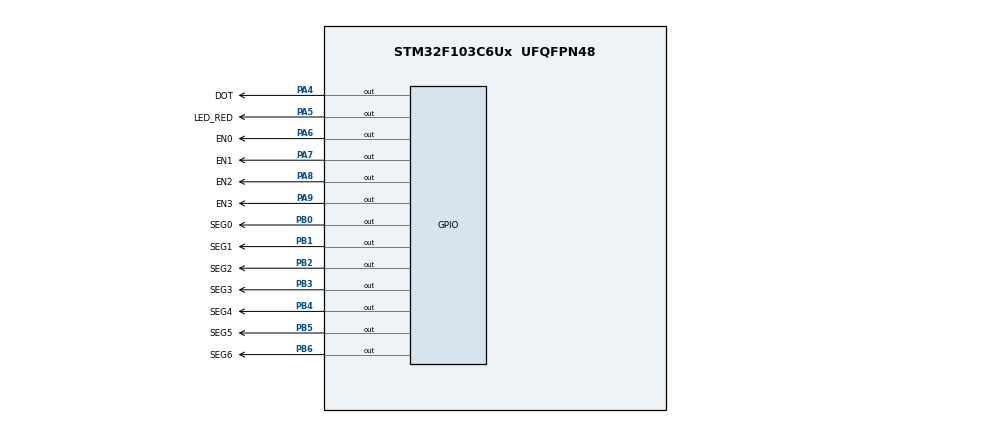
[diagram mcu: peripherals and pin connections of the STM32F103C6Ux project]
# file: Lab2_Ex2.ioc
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Mcu.Family=STM32F1
Mcu.Name=STM32F103C6Ux
Mcu.Package=UFQFPN48
NVIC.PriorityGroup=NVIC_PRIORITYGROUP_4
NVIC.TIM2_IRQn=true\:0\:0\:false\:false\:true\:false\:true
PA13.Mode=Serial_Wire
PA13.Signal=SYS_JTMS-SWDIO
PA14.Mode=Serial_Wire
PA14.Signal=SYS_JTCK-SWCLK
PA4.GPIO_Label=DOT
PA4.PinState=GPIO_PIN_SET
PA4.Signal=GPIO_Output
PA5.GPIO_Label=LED_RED
PA5.PinState=GPIO_PIN_SET
PA5.Signal=GPIO_Output
PA6.GPIO_Label=EN0
PA6.PinState=GPIO_PIN_SET
PA6.Signal=GPIO_Output
PA7.GPIO_Label=EN1
PA7.PinState=GPIO_PIN_SET
PA7.Signal=GPIO_Output
PA8.GPIO_Label=EN2
PA8.PinState=GPIO_PIN_SET
PA8.Signal=GPIO_Output
PA9.GPIO_Label=EN3
PA9.PinState=GPIO_PIN_SET
PA9.Signal=GPIO_Output
PB0.GPIO_Label=SEG0
PB0.PinState=GPIO_PIN_SET
PB0.Signal=GPIO_Output
PB1.GPIO_Label=SEG1
PB1.PinState=GPIO_PIN_SET
PB1.Signal=GPIO_Output
PB2.GPIO_Label=SEG2
PB2.PinState=GPIO_PIN_SET
PB2.Signal=GPIO_Output
PB3.GPIO_Label=SEG3
PB3.PinState=GPIO_PIN_SET
PB3.Signal=GPIO_Output
PB4.GPIO_Label=SEG4
PB4.PinState=GPIO_PIN_SET
PB4.Signal=GPIO_Output
PB5.GPIO_Label=SEG5
PB5.PinState=GPIO_PIN_SET
PB5.Signal=GPIO_Output
PB6.GPIO_Label=SEG6
PB6.PinState=GPIO_PIN_SET
PB6.Signal=GPIO_Output
ProjectManager.HeapSize=0x200
ProjectManager.StackSize=0x400
ProjectManager.TargetToolchain=STM32CubeIDE
RCC.APB1Freq_Value=8000000
RCC.APB2Freq_Value=8000000
TIM2.Period=9
TIM2.Prescaler=7999
VP_TIM2_VS_ClockSourceINT.Mode=Internal
board=custom

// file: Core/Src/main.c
/* USER CODE BEGIN Header */
/**
  ******************************************************************************
  * @file           : main.c
  * @brief          : Main program body
  *                   Lab 2 - Exercise 2 - 4 LED 7 doan hien 12:30, 2 LED DOT nhap nhay
  ******************************************************************************
  * @attention
  *
  * <h2><center>&copy; Copyright (c) 2026 STMicroelectronics.
  * All rights reserved.</center></h2>
  *
  * This software component is licensed by ST under BSD 3-Clause license,
  * the "License"; You may not use this file except in compliance with the
  * License. You may obtain a copy of the License at:
  *                        opensource.org/licenses/BSD-3-Clause
  *
  ******************************************************************************
  */
/* USER CODE END Header */
#include "main.h"

/* USER CODE BEGIN PD */
/* LED 7 doan common anode -> doan sang khi xuat muc 0 */
#define SEG_ON            GPIO_PIN_RESET
#define SEG_OFF           GPIO_PIN_SET

/* PNP: xuat muc 0 -> transistor dan -> LED 7 doan duoc cap nguon */
#define EN_ON             GPIO_PIN_RESET
#define EN_OFF            GPIO_PIN_SET

/* Moi LED 7 doan sang 500 ms (yeu cau: a half of second) */
#define SWITCH_TIME_MS    500
#define TICKS_SWITCH      (SWITCH_TIME_MS / 10)      /* = 50 nhip  */

/* DOT nhap nhay moi 1 giay -> doi trang thai sau 1000 ms */
#define DOT_TIME_MS       1000
#define TICKS_DOT         (DOT_TIME_MS / 10)          /* = 100 nhip */
/* USER CODE END PD */

TIM_HandleTypeDef htim2;

void SystemClock_Config(void);
static void MX_GPIO_Init(void);
static void MX_TIM2_Init(void);

/* USER CODE BEGIN 0 */
int index_led     = 0;
int timer_counter = 0;
int dot_counter   = 0;
int dot_state     = 0;

/* Bang ma 7 doan, bit0..bit6 = doan a..g (kieu gfedcba).
   LED common anode: doan SANG khi chan tin hieu o muc 0. */
const uint8_t SEG_CODE[10] = {
  0x3F, 0x06, 0x5B, 0x4F, 0x66, 0x6D, 0x7D, 0x07, 0x7F, 0x6F
};

void display7SEG(int num)
{
  if (num < 0 || num > 9) return;                 /* chong tran bang    */
  for (int i = 0; i < 7; i++) {                   /* SEG0..SEG6 = PB0..PB6 */
    HAL_GPIO_WritePin(SEG0_GPIO_Port, (uint16_t)(SEG0_Pin << i),
                      ((SEG_CODE[num] >> i) & 1) ? SEG_ON : SEG_OFF);
  }
}
/* USER CODE END 0 */

int main(void)
{

  /* MCU Configuration--------------------------------------------------------*/

  /* Reset of all peripherals, Initializes the Flash interface and the Systick. */
  HAL_Init();

  /* Configure the system clock */
  SystemClock_Config();

  /* Initialize all configured peripherals */
  MX_GPIO_Init();
  MX_TIM2_Init();
  /* USER CODE BEGIN 2 */
  HAL_TIM_Base_Start_IT(&htim2);
  /* USER CODE END 2 */

  /* Infinite loop */
  /* USER CODE BEGIN WHILE */
  while (1)
  {
    /* Vong lap chinh de trong: moi viec nam trong ngat TIM2 */
    /* USER CODE END WHILE */

  }
}

void SystemClock_Config(void)
{
  RCC_OscInitTypeDef RCC_OscInitStruct = {0};
  RCC_ClkInitTypeDef RCC_ClkInitStruct = {0};

  /** Initializes the RCC Oscillators according to the specified parameters
  * in the RCC_OscInitTypeDef structure.
  */
  RCC_OscInitStruct.OscillatorType = RCC_OSCILLATORTYPE_HSI;
  RCC_OscInitStruct.HSIState = RCC_HSI_ON;
  RCC_OscInitStruct.HSICalibrationValue = RCC_HSICALIBRATION_DEFAULT;
  RCC_OscInitStruct.PLL.PLLState = RCC_PLL_NONE;
  if (HAL_RCC_OscConfig(&RCC_OscInitStruct) != HAL_OK)
  {
    Error_Handler();
  }
  /** Initializes the CPU, AHB and APB buses clocks
  */
  RCC_ClkInitStruct.ClockType = RCC_CLOCKTYPE_HCLK|RCC_CLOCKTYPE_SYSCLK
                              |RCC_CLOCKTYPE_PCLK1|RCC_CLOCKTYPE_PCLK2;
  RCC_ClkInitStruct.SYSCLKSource = RCC_SYSCLKSOURCE_HSI;
  RCC_ClkInitStruct.AHBCLKDivider = RCC_SYSCLK_DIV1;
  RCC_ClkInitStruct.APB1CLKDivider = RCC_HCLK_DIV1;
  RCC_ClkInitStruct.APB2CLKDivider = RCC_HCLK_DIV1;

  if (HAL_RCC_ClockConfig(&RCC_ClkInitStruct, FLASH_LATENCY_0) != HAL_OK)
  {
    Error_Handler();
  }
}

static void MX_GPIO_Init(void)
{
  GPIO_InitTypeDef GPIO_InitStruct = {0};

  /* GPIO Ports Clock Enable */
  __HAL_RCC_GPIOA_CLK_ENABLE();
  __HAL_RCC_GPIOB_CLK_ENABLE();

  /*Configure GPIO pin Output Level */
  HAL_GPIO_WritePin(GPIOA, DOT_Pin|LED_RED_Pin|EN0_Pin
                          |EN1_Pin|EN2_Pin|EN3_Pin, GPIO_PIN_SET);

  /*Configure GPIO pin Output Level */
  HAL_GPIO_WritePin(GPIOB, SEG0_Pin|SEG1_Pin|SEG2_Pin
                          |SEG3_Pin|SEG4_Pin|SEG5_Pin
                          |SEG6_Pin, GPIO_PIN_SET);

  /*Configure GPIO pins : DOT_Pin LED_RED_Pin EN0_Pin EN1_Pin EN2_Pin EN3_Pin */
  GPIO_InitStruct.Pin = DOT_Pin|LED_RED_Pin|EN0_Pin
                          |EN1_Pin|EN2_Pin|EN3_Pin;
  GPIO_InitStruct.Mode = GPIO_MODE_OUTPUT_PP;
  GPIO_InitStruct.Pull = GPIO_NOPULL;
  GPIO_InitStruct.Speed = GPIO_SPEED_FREQ_LOW;
  HAL_GPIO_Init(GPIOA, &GPIO_InitStruct);

  /*Configure GPIO pins : SEG0_Pin SEG1_Pin SEG2_Pin SEG3_Pin SEG4_Pin SEG5_Pin SEG6_Pin */
  GPIO_InitStruct.Pin = SEG0_Pin|SEG1_Pin|SEG2_Pin
                          |SEG3_Pin|SEG4_Pin|SEG5_Pin
                          |SEG6_Pin;
  GPIO_InitStruct.Mode = GPIO_MODE_OUTPUT_PP;
  GPIO_InitStruct.Pull = GPIO_NOPULL;
  GPIO_InitStruct.Speed = GPIO_SPEED_FREQ_LOW;
  HAL_GPIO_Init(GPIOB, &GPIO_InitStruct);

}
static void MX_TIM2_Init(void)
{

  TIM_ClockConfigTypeDef sClockSourceConfig = {0};
  TIM_MasterConfigTypeDef sMasterConfig = {0};

  htim2.Instance = TIM2;
  htim2.Init.Prescaler = 7999;
  htim2.Init.CounterMode = TIM_COUNTERMODE_UP;
  htim2.Init.Period = 9;
  htim2.Init.ClockDivision = TIM_CLOCKDIVISION_DIV1;
  htim2.Init.AutoReloadPreload = TIM_AUTORELOAD_PRELOAD_DISABLE;
  if (HAL_TIM_Base_Init(&htim2) != HAL_OK)
  {
    Error_Handler();
  }
  sClockSourceConfig.ClockSource = TIM_CLOCKSOURCE_INTERNAL;
  if (HAL_TIM_ConfigClockSource(&htim2, &sClockSourceConfig) != HAL_OK)
  {
    Error_Handler();
  }
  sMasterConfig.MasterOutputTrigger = TIM_TRGO_RESET;
  sMasterConfig.MasterSlaveMode = TIM_MASTERSLAVEMODE_DISABLE;
  if (HAL_TIMEx_MasterConfigSynchronization(&htim2, &sMasterConfig) != HAL_OK)
  {
    Error_Handler();
  }

}

/* USER CODE BEGIN 4 */
void HAL_TIM_PeriodElapsedCallback(TIM_HandleTypeDef *htim)
{
  if (htim->Instance == TIM2) {

    /* --- Viec 1: quet 4 LED 7 doan, moi LED 500 ms --- */
    timer_counter++;
    if (timer_counter >= TICKS_SWITCH) {
      timer_counter = 0;

      /* tat ca 4 LED truoc cho khoi bi bong mo */
      HAL_GPIO_WritePin(EN0_GPIO_Port,
                        EN0_Pin | EN1_Pin | EN2_Pin | EN3_Pin, EN_OFF);

      switch (index_led) {                       /* 12:30 */
        case 0: display7SEG(1);
                HAL_GPIO_WritePin(EN0_GPIO_Port, EN0_Pin, EN_ON); break;
        case 1: display7SEG(2);
                HAL_GPIO_WritePin(EN1_GPIO_Port, EN1_Pin, EN_ON); break;
        case 2: display7SEG(3);
                HAL_GPIO_WritePin(EN2_GPIO_Port, EN2_Pin, EN_ON); break;
        case 3: display7SEG(0);
                HAL_GPIO_WritePin(EN3_GPIO_Port, EN3_Pin, EN_ON); break;
        default: break;
      }
      index_led++;
      if (index_led >= 4) index_led = 0;
    }

    /* --- Viec 2: 2 LED DOT nhap nhay moi 1 giay --- */
    dot_counter++;
    if (dot_counter >= TICKS_DOT) {
      dot_counter = 0;
      dot_state   = !dot_state;
      HAL_GPIO_WritePin(DOT_GPIO_Port, DOT_Pin,
                        dot_state ? GPIO_PIN_SET : GPIO_PIN_RESET);
    }
  }
}
/* USER CODE END 4 */

void Error_Handler(void)
{
  __disable_irq();
  while (1)
  {
  }
}

/************************ (C) COPYRIGHT STMicroelectronics *****END OF FILE****/
